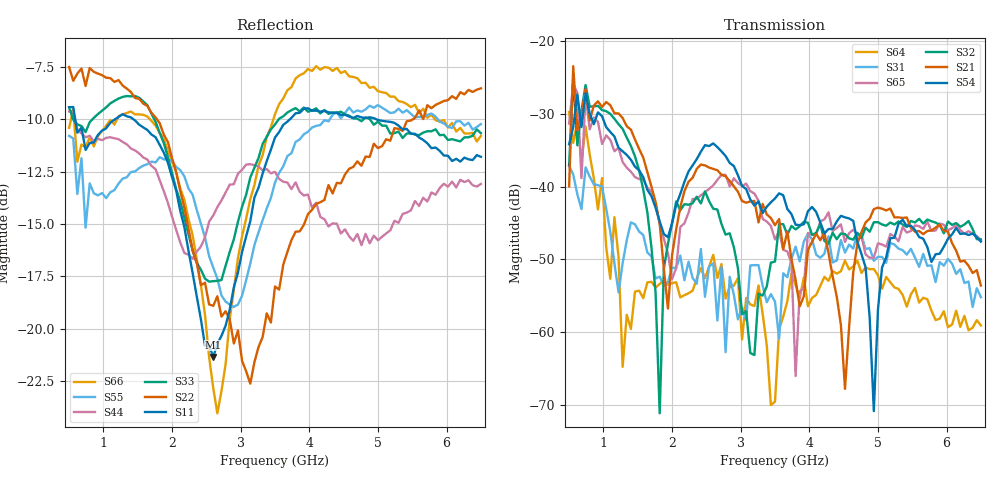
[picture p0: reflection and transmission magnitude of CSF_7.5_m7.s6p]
!Keysight Technologies,M9804A,MY58100912,A.14.10.03
!Date: Thursday, April 27, 2023 10:28:33
!Correction: S11(C  6-Port  )
!S12(C  6-Port  )
!S13(C  6-Port  )
!S14(C  6-Port  )
!S15(C  6-Port  )
!S16(C  6-Port  )
!S21(C  6-Port  )
!S22(C  6-Port  )
!S23(C  6-Port  )
!S24(C  6-Port  )
!S25(C  6-Port  )
!S26(C  6-Port  )
!S31(C  6-Port  )
!S32(C  6-Port  )
!S33(C  6-Port  )
!S34(C  6-Port  )
!S35(C  6-Port  )
!S36(C  6-Port  )
!S41(C  6-Port  )
!S42(C  6-Port  )
!S43(C  6-Port  )
!S44(C  6-Port  )
!S45(C  6-Port  )
!S46(C  6-Port  )
!S51(C  6-Port  )
!S52(C  6-Port  )
!S53(C  6-Port  )
!S54(C  6-Port  )
!S55(C  6-Port  )
!S56(C  6-Port  )
!S61(C  6-Port  )
!S62(C  6-Port  )
!S63(C  6-Port  )
!S64(C  6-Port  )
!S65(C  6-Port  )
!S66(C  6-Port  )
!S6P File: Measurement: :
# Hz S  RI  R 50
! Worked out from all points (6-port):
!   101 points, 500 MHz to 6.5 GHz, reference 50 ohm
!   strongest paths, dB at 500 MHz, 2 GHz, 3.5 GHz, 5 GHz, 6.5 GHz:
!     S54: -34.2, -45.0, -41.6, -56.9, -47.6
!     S21: -40.0, -49.4, -45.3, -42.9, -53.6
!     S32: -37.1, -45.1, -50.3, -44.9, -47.3
!     S65: -31.4, -52.7, -47.3, -47.8, -47.4
!     S31: -37.2, -51.1, -55.8, -49.6, -55.2
!     S64: -29.8, -53.3, -69.5, -52.2, -59.1
!   lowest |S11| = -21.4 dB at 2.6 GHz (marker M1), VSWR 1.19, Z = 42.4 + j2.25 ohm
!   |S11| at or under -10 dB: 588.8 MHz to 1.166 GHz (577.4 MHz wide, 65.8 % of centre); 1.439 GHz to 3.716 GHz (2.277 GHz wide, 88.4 % of centre); 4.979 GHz to end of sweep
